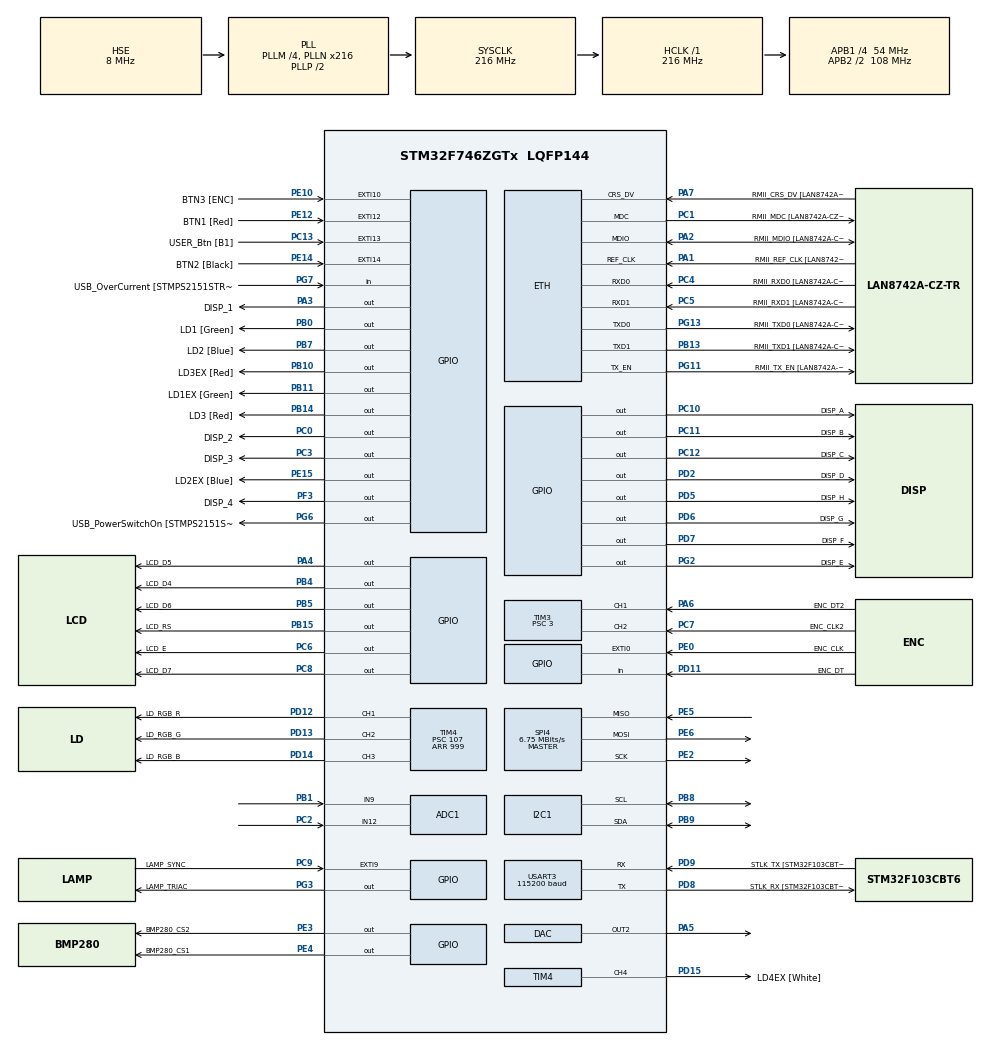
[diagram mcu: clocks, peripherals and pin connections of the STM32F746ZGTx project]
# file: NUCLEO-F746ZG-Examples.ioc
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ADC1.Channel-0\#ChannelRegularConversion=ADC_CHANNEL_9
ADC1.Channel-1\#ChannelRegularConversion=ADC_CHANNEL_12
ADC1.ContinuousConvMode=DISABLE
ADC1.DMAContinuousRequests=ENABLE
ADC1.EOCSelection=ADC_EOC_SEQ_CONV
ADC1.NbrOfConversion=2
ADC1.NbrOfConversionFlag=1
ADC1.Rank-0\#ChannelRegularConversion=1
ADC1.Rank-1\#ChannelRegularConversion=2
ADC1.SamplingTime-0\#ChannelRegularConversion=ADC_SAMPLETIME_480CYCLES
ADC1.SamplingTime-1\#ChannelRegularConversion=ADC_SAMPLETIME_480CYCLES
ADC1.master=1
ARM.CMSIS.5.6.0.CMSISJjCORE=true
ARM.CMSIS.5.6.0.CMSISJjDSP=Library
DAC.DAC_Trigger2=DAC_TRIGGER_NONE
Dma.ADC1.1.Direction=DMA_PERIPH_TO_MEMORY
Dma.ADC1.1.FIFOMode=DMA_FIFOMODE_DISABLE
Dma.ADC1.1.Instance=DMA2_Stream0
Dma.ADC1.1.MemDataAlignment=DMA_MDATAALIGN_HALFWORD
Dma.ADC1.1.MemInc=DMA_MINC_ENABLE
Dma.ADC1.1.Mode=DMA_CIRCULAR
Dma.ADC1.1.PeriphDataAlignment=DMA_PDATAALIGN_HALFWORD
Dma.ADC1.1.PeriphInc=DMA_PINC_DISABLE
Dma.ADC1.1.Priority=DMA_PRIORITY_LOW
Dma.DAC2.2.Direction=DMA_MEMORY_TO_PERIPH
Dma.DAC2.2.FIFOMode=DMA_FIFOMODE_DISABLE
Dma.DAC2.2.Instance=DMA1_Stream6
Dma.DAC2.2.MemDataAlignment=DMA_MDATAALIGN_HALFWORD
Dma.DAC2.2.MemInc=DMA_MINC_ENABLE
Dma.DAC2.2.Mode=DMA_CIRCULAR
Dma.DAC2.2.PeriphDataAlignment=DMA_PDATAALIGN_HALFWORD
Dma.DAC2.2.PeriphInc=DMA_PINC_DISABLE
Dma.DAC2.2.Priority=DMA_PRIORITY_LOW
Dma.Request0=USART3_RX
Dma.Request1=ADC1
Dma.Request2=DAC2
Dma.USART3_RX.0.Direction=DMA_PERIPH_TO_MEMORY
Dma.USART3_RX.0.FIFOMode=DMA_FIFOMODE_DISABLE
Dma.USART3_RX.0.Instance=DMA1_Stream1
Dma.USART3_RX.0.MemDataAlignment=DMA_MDATAALIGN_BYTE
Dma.USART3_RX.0.MemInc=DMA_MINC_ENABLE
Dma.USART3_RX.0.Mode=DMA_NORMAL
Dma.USART3_RX.0.PeriphDataAlignment=DMA_PDATAALIGN_BYTE
Dma.USART3_RX.0.PeriphInc=DMA_PINC_DISABLE
Dma.USART3_RX.0.Priority=DMA_PRIORITY_LOW
ETH.MediaInterface=ETH_MEDIA_INTERFACE_RMII
I2C1.Timing=0x20404768
Mcu.Family=STM32F7
Mcu.Name=STM32F746ZGTx
Mcu.Package=LQFP144
NVIC.DMA1_Stream1_IRQn=true\:1\:0\:true\:false\:true\:false\:true
NVIC.DMA1_Stream6_IRQn=true\:0\:0\:false\:false\:true\:false\:true
NVIC.DMA2_Stream0_IRQn=true\:1\:0\:true\:false\:true\:false\:true
NVIC.EXTI15_10_IRQn=true\:1\:0\:true\:false\:true\:true\:true
NVIC.EXTI9_5_IRQn=true\:0\:0\:false\:false\:true\:true\:true
NVIC.PriorityGroup=NVIC_PRIORITYGROUP_4
NVIC.TIM1_UP_TIM10_IRQn=true\:1\:0\:true\:false\:true\:true\:true
NVIC.TIM2_IRQn=true\:0\:0\:false\:false\:true\:true\:true
NVIC.TIM6_DAC_IRQn=true\:0\:0\:false\:false\:true\:true\:true
NVIC.TIM7_IRQn=true\:0\:0\:false\:false\:true\:true\:true
PA1.GPIO_Label=RMII_REF_CLK [LAN8742A-CZ-TR_REFCLK0]
PA1.Mode=RMII
PA1.Signal=ETH_REF_CLK
PA10.GPIO_Label=USB_ID
PA10.Signal=USB_OTG_FS_ID
PA11.GPIO_Label=USB_DM
PA11.Signal=USB_OTG_FS_DM
PA12.GPIO_Label=USB_DP
PA12.Signal=USB_OTG_FS_DP
PA13.GPIO_Label=TMS
PA13.Mode=Serial_Wire
PA13.Signal=SYS_JTMS-SWDIO
PA14.GPIO_Label=TCK
PA14.Mode=Serial_Wire
PA14.Signal=SYS_JTCK-SWCLK
PA2.GPIO_Label=RMII_MDIO [LAN8742A-CZ-TR_MDIO]
PA2.Mode=RMII
PA2.Signal=ETH_MDIO
PA3.GPIO_Label=DISP_1
PA3.Signal=GPIO_Output
PA4.GPIO_Label=LCD_D5
PA4.Signal=GPIO_Output
PA5.Signal=COMP_DAC2_group
PA6.GPIO_Label=ENC_DT2
PA6.Signal=S_TIM3_CH1
PA7.GPIO_Label=RMII_CRS_DV [LAN8742A-CZ-TR_CRS_DV]
PA7.Mode=RMII
PA7.Signal=ETH_CRS_DV
PA8.GPIO_Label=USB_SOF [TP1]
PA8.Signal=USB_OTG_FS_SOF
PA9.GPIO_Label=USB_VBUS
PA9.Signal=USB_OTG_FS_VBUS
PB0.GPIO_Label=LD1 [Green]
PB0.Signal=GPIO_Output
PB1.Signal=ADCx_IN9
PB10.GPIO_Label=LD3EX [Red]
PB10.Signal=GPIO_Output
PB11.GPIO_Label=LD1EX [Green]
PB11.Signal=GPIO_Output
PB13.GPIO_Label=RMII_TXD1 [LAN8742A-CZ-TR_TXD1]
PB13.Mode=RMII
PB13.Signal=ETH_TXD1
PB14.GPIO_Label=LD3 [Red]
PB14.Signal=GPIO_Output
PB15.GPIO_Label=LCD_RS
PB15.Signal=GPIO_Output
PB3.GPIO_Label=SW0
PB3.Signal=SYS_JTDO-SWO
PB4.GPIO_Label=LCD_D4
PB4.Signal=GPIO_Output
PB5.GPIO_Label=LCD_D6
PB5.Signal=GPIO_Output
PB7.GPIO_Label=LD2 [Blue]
PB7.Signal=GPIO_Output
PB8.Mode=I2C
PB8.Signal=I2C1_SCL
PB9.Mode=I2C
PB9.Signal=I2C1_SDA
PC0.GPIO_Label=DISP_2
PC0.Signal=GPIO_Output
PC1.GPIO_Label=RMII_MDC [LAN8742A-CZ-TR_MDC]
PC1.Mode=RMII
PC1.Signal=ETH_MDC
PC10.GPIO_Label=DISP_A
PC10.GPIO_ModeDefaultOutputPP=GPIO_MODE_OUTPUT_OD
PC10.GPIO_PuPd=GPIO_PULLUP
PC10.Signal=GPIO_Output
PC11.GPIO_Label=DISP_B
PC11.GPIO_ModeDefaultOutputPP=GPIO_MODE_OUTPUT_OD
PC11.GPIO_PuPd=GPIO_PULLUP
PC11.Signal=GPIO_Output
PC12.GPIO_Label=DISP_C
PC12.GPIO_ModeDefaultOutputPP=GPIO_MODE_OUTPUT_OD
PC12.GPIO_PuPd=GPIO_PULLUP
PC12.Signal=GPIO_Output
PC13.GPIO_Label=USER_Btn [B1]
PC13.Signal=GPXTI13
PC14/OSC32_IN.Mode=LSE-External-Oscillator
PC14/OSC32_IN.Signal=RCC_OSC32_IN
PC15/OSC32_OUT.Mode=LSE-External-Oscillator
PC15/OSC32_OUT.Signal=RCC_OSC32_OUT
PC2.Signal=ADCx_IN12
PC3.GPIO_Label=DISP_3
PC3.Signal=GPIO_Output
PC4.GPIO_Label=RMII_RXD0 [LAN8742A-CZ-TR_RXD0]
PC4.Mode=RMII
PC4.Signal=ETH_RXD0
PC5.GPIO_Label=RMII_RXD1 [LAN8742A-CZ-TR_RXD1]
PC5.Mode=RMII
PC5.Signal=ETH_RXD1
PC6.GPIO_Label=LCD_E
PC6.Signal=GPIO_Output
PC7.GPIO_Label=ENC_CLK2
PC7.Signal=S_TIM3_CH2
PC8.GPIO_Label=LCD_D7
PC8.Signal=GPIO_Output
PC9.GPIO_Label=LAMP_SYNC
PC9.GPIO_ModeDefaultEXTI=GPIO_MODE_IT_FALLING
PC9.Signal=GPXTI9
PD11.GPIO_Label=ENC_DT
PD11.Signal=GPIO_Input
PD12.GPIO_Label=LD_RGB_R
PD12.Signal=S_TIM4_CH1
PD13.GPIO_Label=LD_RGB_G
PD13.Signal=S_TIM4_CH2
PD14.GPIO_Label=LD_RGB_B
PD14.Signal=S_TIM4_CH3
PD15.GPIO_Label=LD4EX [White]
PD15.Signal=S_TIM4_CH4
PD2.GPIO_Label=DISP_D
PD2.GPIO_ModeDefaultOutputPP=GPIO_MODE_OUTPUT_OD
PD2.GPIO_PuPd=GPIO_PULLUP
PD2.Signal=GPIO_Output
PD5.GPIO_Label=DISP_H
PD5.GPIO_ModeDefaultOutputPP=GPIO_MODE_OUTPUT_OD
PD5.GPIO_PuPd=GPIO_PULLUP
PD5.Signal=GPIO_Output
PD6.GPIO_Label=DISP_G
PD6.GPIO_ModeDefaultOutputPP=GPIO_MODE_OUTPUT_OD
PD6.GPIO_PuPd=GPIO_PULLUP
PD6.Signal=GPIO_Output
PD7.GPIO_Label=DISP_F
PD7.GPIO_ModeDefaultOutputPP=GPIO_MODE_OUTPUT_OD
PD7.GPIO_PuPd=GPIO_PULLUP
PD7.Signal=GPIO_Output
PD8.GPIO_Label=STLK_RX [STM32F103CBT6_PA3]
PD8.Mode=Asynchronous
PD8.Signal=USART3_TX
PD9.GPIO_Label=STLK_TX [STM32F103CBT6_PA2]
PD9.Mode=Asynchronous
PD9.Signal=USART3_RX
PE0.GPIO_Label=ENC_CLK
PE0.GPIO_ModeDefaultEXTI=GPIO_MODE_IT_FALLING
PE0.Signal=GPXTI0
PE10.GPIO_Label=BTN3 [ENC]
PE10.GPIO_ModeDefaultEXTI=GPIO_MODE_IT_FALLING
PE10.Signal=GPXTI10
PE12.GPIO_Label=BTN1 [Red]
PE12.GPIO_ModeDefaultEXTI=GPIO_MODE_IT_FALLING
PE12.GPIO_PuPd=GPIO_PULLUP
PE12.Signal=GPXTI12
PE14.GPIO_Label=BTN2 [Black]
PE14.GPIO_PuPd=GPIO_PULLDOWN
PE14.Signal=GPXTI14
PE15.GPIO_Label=LD2EX [Blue]
PE15.Signal=GPIO_Output
PE2.Mode=Full_Duplex_Master
PE2.Signal=SPI4_SCK
PE3.GPIO_Label=BMP280_CS2
PE3.GPIO_Speed=GPIO_SPEED_FREQ_VERY_HIGH
PE3.PinState=GPIO_PIN_SET
PE3.Signal=GPIO_Output
PE4.GPIO_Label=BMP280_CS1
PE4.GPIO_Speed=GPIO_SPEED_FREQ_VERY_HIGH
PE4.PinState=GPIO_PIN_SET
PE4.Signal=GPIO_Output
PE5.Mode=Full_Duplex_Master
PE5.Signal=SPI4_MISO
PE6.Mode=Full_Duplex_Master
PE6.Signal=SPI4_MOSI
PF3.GPIO_Label=DISP_4
PF3.GPIO_ModeDefaultOutputPP=GPIO_MODE_OUTPUT_PP
PF3.GPIO_PuPd=GPIO_NOPULL
PF3.Signal=GPIO_Output
PG11.GPIO_Label=RMII_TX_EN [LAN8742A-CZ-TR_TXEN]
PG11.Mode=RMII
PG11.Signal=ETH_TX_EN
PG13.GPIO_Label=RMII_TXD0 [LAN8742A-CZ-TR_TXD0]
PG13.Mode=RMII
PG13.Signal=ETH_TXD0
PG2.GPIO_Label=DISP_E
PG2.GPIO_ModeDefaultOutputPP=GPIO_MODE_OUTPUT_OD
PG2.GPIO_PuPd=GPIO_PULLUP
PG2.Signal=GPIO_Output
PG3.GPIO_Label=LAMP_TRIAC
PG3.GPIO_Speed=GPIO_SPEED_FREQ_VERY_HIGH
PG3.Signal=GPIO_Output
PG6.GPIO_Label=USB_PowerSwitchOn [STMPS2151STR_EN]
PG6.Signal=GPIO_Output
PG7.GPIO_Label=USB_OverCurrent [STMPS2151STR_FAULT]
PG7.Signal=GPIO_Input
PH0/OSC_IN.GPIO_Label=MCO [STM32F103CBT6_PA8]
PH0/OSC_IN.Mode=HSE-External-Clock-Source
PH0/OSC_IN.Signal=RCC_OSC_IN
PH1/OSC_OUT.Mode=HSE-External-Clock-Source
PH1/OSC_OUT.Signal=RCC_OSC_OUT
ProjectManager.HeapSize=0x200
ProjectManager.StackSize=0x400
ProjectManager.TargetToolchain=STM32CubeIDE
RCC.48MHZClocksFreq_Value=24000000
RCC.AHBFreq_Value=216000000
RCC.APB1CLKDivider=RCC_HCLK_DIV4
RCC.APB1Freq_Value=54000000
RCC.APB1TimFreq_Value=108000000
RCC.APB2CLKDivider=RCC_HCLK_DIV2
RCC.APB2Freq_Value=108000000
RCC.APB2TimFreq_Value=216000000
RCC.CortexFreq_Value=216000000
RCC.HCLKFreq_Value=216000000
RCC.HSE_VALUE=8000000
RCC.HSI_VALUE=16000000
RCC.PLLM=4
RCC.PLLMUL=RCC_PLL_MUL9
RCC.PLLN=216
RCC.PLLQ=3
RCC.PLLSourceVirtual=RCC_PLLSOURCE_HSE
RCC.PRESCALERUSB=RCC_USBCLKSOURCE_PLL_DIV1_5
RCC.SYSCLKFreq_VALUE=216000000
RCC.SYSCLKSource=RCC_SYSCLKSOURCE_PLLCLK
RCC.SYSCLKSourceVirtual=RCC_SYSCLKSOURCE_PLLCLK
RCC.USBFreq_Value=144000000
RCC.VCOOutputFreq_Value=432000000
SH.ADCx_IN12.0=ADC1_IN12,IN12
SH.ADCx_IN9.0=ADC1_IN9,IN9
SH.COMP_DAC2_group.0=DAC_OUT2,DAC_OUT2
SH.S_TIM3_CH1.0=TIM3_CH1,Encoder_Interface
SH.S_TIM3_CH2.0=TIM3_CH2,Encoder_Interface
SH.S_TIM4_CH1.0=TIM4_CH1,PWM Generation1 CH1
SH.S_TIM4_CH2.0=TIM4_CH2,PWM Generation2 CH2
SH.S_TIM4_CH3.0=TIM4_CH3,PWM Generation3 CH3
SH.S_TIM4_CH4.0=TIM4_CH4,PWM Generation4 CH4
SPI4.BaudRatePrescaler=SPI_BAUDRATEPRESCALER_16
SPI4.CLKPhase=SPI_PHASE_2EDGE
SPI4.CLKPolarity=SPI_POLARITY_HIGH
SPI4.CalculateBaudRate=6.75 MBits/s
SPI4.DataSize=SPI_DATASIZE_8BIT
SPI4.Direction=SPI_DIRECTION_2LINES
SPI4.Mode=SPI_MODE_MASTER
SPI4.VirtualType=VM_MASTER
TIM10.Period=2999
TIM10.Prescaler=21599
TIM2.Period=10000-1
TIM2.Prescaler=108-1
TIM3.ClockDivision=TIM_CLOCKDIVISION_DIV1
TIM3.EncoderMode=TIM_ENCODERMODE_TI12
TIM3.IC1Polarity=TIM_ICPOLARITY_FALLING
TIM3.IC1Prescaler=TIM_ICPSC_DIV1
TIM3.IC2Polarity=TIM_ICPOLARITY_FALLING
TIM3.IC2Prescaler=TIM_ICPSC_DIV1
TIM3.Period=100
TIM3.Prescaler=3
TIM4.Channel-PWM\ Generation1\ CH1=TIM_CHANNEL_1
TIM4.Channel-PWM\ Generation2\ CH2=TIM_CHANNEL_2
TIM4.Channel-PWM\ Generation3\ CH3=TIM_CHANNEL_3
TIM4.Channel-PWM\ Generation4\ CH4=TIM_CHANNEL_4
TIM4.Period=999
TIM4.Prescaler=107
TIM4.Pulse-PWM\ Generation1\ CH1=0
TIM4.Pulse-PWM\ Generation2\ CH2=0
TIM4.Pulse-PWM\ Generation3\ CH3=0
TIM5.Prescaler=107
TIM6.Period=9
TIM6.Prescaler=107
TIM6.TIM_MasterOutputTrigger=TIM_TRGO_UPDATE
TIM7.Period=999
TIM7.Prescaler=216
USART3.BaudRate=115200
USART3.VirtualMode-Asynchronous=VM_ASYNC
VP_ARM.CMSIS_VS_CMSISJjCORE_5.3.0_5.6.0.Mode=CMSISJjCORE
VP_ARM.CMSIS_VS_CMSISJjDSP_1.7.0_5.6.0.Mode=CMSISJjDSP
VP_TIM10_VS_ClockSourceINT.Mode=Enable_Timer
VP_TIM2_VS_ClockSourceINT.Mode=Internal
VP_TIM4_VS_ClockSourceINT.Mode=Internal
VP_TIM5_VS_ClockSourceINT.Mode=Internal
VP_TIM6_VS_ClockSourceINT.Mode=Enable_Timer
VP_TIM7_VS_ClockSourceINT.Mode=Enable_Timer
board=NUCLEO-F746ZG

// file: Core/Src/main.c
/* USER CODE BEGIN Header */
/**
  ******************************************************************************
  * @file           : main.c
  * @brief          : Main program body
  ******************************************************************************
  * @attention
  *
  * <h2><center>&copy; Copyright (c) 2021 STMicroelectronics.
  * All rights reserved.</center></h2>
  *
  * This software component is licensed by ST under BSD 3-Clause license,
  * the "License"; You may not use this file except in compliance with the
  * License. You may obtain a copy of the License at:
  *                        opensource.org/licenses/BSD-3-Clause
  *
  ******************************************************************************
  *
  *
  *
  ******************************************************************************
  */
/* USER CODE END Header */
#include "main.h"
#include "adc.h"
#include "dac.h"
#include "dma.h"
#include "eth.h"
#include "i2c.h"
#include "spi.h"
#include "tim.h"
#include "usart.h"
#include "gpio.h"

/* USER CODE BEGIN Includes */
#include "arm_math.h" // CMSIS DSP

#include "common.h"
#include "led_config.h"
#include "led_rgb_config.h"
#include "lamp_config.h"
#include "btn_config.h"
#include "encoder_config.h"
#include "disp_config.h"
#include "lcd_config.h"
#include "bh1750_config.h"
#include "bmp2_config.h"
#include "analog_input.h"
#include "analog_output.h"
//#include "sine_wave.h"
#include "menu_config.h"

/* USER CODE END Includes */

/* USER CODE BEGIN PD */
#define LAB   13
/* USER CODE END PD */

/* USER CODE BEGIN PV */
uint16_t adc1_conv_rslt[ADC1_NUMBER_OF_CONV];
float adc1_voltages[ADC1_NUMBER_OF_CONV];

extern arm_fir_instance_f32 fir;
extern arm_biquad_casd_df1_inst_f32 iir;
extern arm_pid_instance_f32 pid;

//uint8_t END_OF_MSG = '\r';
uint8_t END_OF_MSG = '\n';
//uint8_t END_OF_MSG[] = {'\r','\n'};

uint8_t RX_DATA[SERIAL_PORT_MSG_BUF_LEN];

/* USER CODE END PV */

void SystemClock_Config(void);

/* USER CODE BEGIN 0 */

/**
  * @brief  Rx Transfer completed callback.
  * @param  huart UART handle.
  * @retval None
  */
void HAL_UART_RxCpltCallback(UART_HandleTypeDef *huart)
{
  if(huart == &huart3)
  {
    unsigned int dac_reg;
    int rx_n = sscanf((char*)RX_DATA, "%3x", &dac_reg);

    if(rx_n == 1)
      HAL_DAC_SetValue(&hdac, DAC_CHANNEL_2, DAC_ALIGN_12B_R, (uint16_t)dac_reg);

    HAL_UART_Receive_DMA(huart, RX_DATA, SERIAL_PORT_DAC_MSG_SIZE);
  }
}

/**
  * @brief  Regular conversion complete callback in non blocking mode
  * @param  hadc pointer to a ADC_HandleTypeDef structure that contains
  *         the configuration information for the specified ADC.
  * @retval None
  */
void HAL_ADC_ConvCpltCallback(ADC_HandleTypeDef* hadc)
{
  if(hadc == &hadc1)
  {
  	float ain1_tmp = ADC_REG2VOLTAGE(adc1_conv_rslt[0]);
  	arm_fir_f32(&fir, &ain1_tmp, &adc1_voltages[0], 1);                // FIR filter

  	ain1_tmp = ADC_REG2VOLTAGE(adc1_conv_rslt[1]);
  	arm_biquad_cascade_df1_f32(&iir, &ain1_tmp, &adc1_voltages[1], 1); // IIR filter
  }
}

/**
  * @brief  Period elapsed callback in non-blocking mode
  * @param  htim TIM handle
  * @retval None
  */
void HAL_TIM_PeriodElapsedCallback(TIM_HandleTypeDef *htim)
{
  /* User menu: low priority */
  if(htim == hmenu.Timer)
  {
	/* UI timer period: display refresh rate [x100us] */
	__HAL_TIM_SET_AUTORELOAD(htim, MAX(hmenu.Item->RefreshRate, hmenu.Item->Next->RefreshRate));

	/* Menu items routines: main application tasks */
	MENU_ROUTINE(&hmenu);

	/* ADC1 conversion result on 7-segment display */
	DISP_printDecUInt(&hdisp1, adc1_voltages[0]);
  }
  /* User inputs & low-level display multiplexing: high priority timer */
  if(htim == hdisp1.Timer)
  {
	/* ADC1 DMA software triggering */
	ADC1_READ(adc1_conv_rslt);

    /* Menu buttons */
    if(BTN_EdgeDetected(&hbtn1) && hmenu.Item->Next != NULL)
	  hmenu.Item = hmenu.Item->Next;
    if(BTN_EdgeDetected(&hbtn2) && hmenu.Item->Prev != NULL)
      hmenu.Item = hmenu.Item->Prev;

    /* 7-segment display routine */
	DISP_ROUTINE(&hdisp1);
  }
}

/* USER CODE END 0 */

int main(void)
{

  /* MCU Configuration--------------------------------------------------------*/

  /* Reset of all peripherals, Initializes the Flash interface and the Systick. */
  HAL_Init();

  /* Configure the system clock */
  SystemClock_Config();

  /* Initialize all configured peripherals */
  MX_TIM2_Init();
  MX_GPIO_Init();
  MX_DMA_Init();
  MX_USART3_UART_Init();
  MX_ETH_Init();
  MX_TIM3_Init();
  MX_TIM4_Init();
  MX_TIM10_Init();
  MX_TIM5_Init();
  MX_I2C1_Init();
  MX_SPI4_Init();
  MX_ADC1_Init();
  MX_DAC_Init();
  MX_TIM6_Init();
  MX_TIM7_Init();
  /* USER CODE BEGIN 2 */

  // Initialize light sensor
  BH1750_Init(&hbh1750_1);
  // Initialize pressure and temperature sensor
  BMP2_Init(&bmp2dev_1);
  // Initialize LCD1
  LCD_Init(&hlcd1);
  // Print laboratory task info on LCD1
  LCD_printf(&hlcd1, "L%02d: CMSIS DSP", LAB);
  // Initialize RGB LED
  LED_RGB_Init(&hledrgb1);
  // Set RGB LED color: disable all channels
  LED_RGB_SetColor(&hledrgb1, 0x000000);
  // Initialize rotary encoder
  ENC_Init(&henc1);

  // Start analog output
  HAL_DAC_Start(&hdac, DAC_CHANNEL_2);
  HAL_DAC_SetValue(&hdac, DAC_CHANNEL_2, DAC_ALIGN_12B_R, DAC_VOLTAGE2REG(0.0f) /* V */);
  //HAL_TIM_Base_Start(&htim6);
  //HAL_DAC_Start_DMA(&hdac, DAC_CHANNEL_2, SINE_WAVE, 100, DAC_ALIGN_12B_R);

  // CMSIS unit testing
  CMSIS_UnitTests();

  // Wait for button
  while(!BTN_EdgeDetected(&hbtn1))
  	HAL_Delay(0);

  // Turn LEDs off after testing
  LED_OFF_ALL();
  // User menu initialization
  MENU_Init(&hmenu);
  // Initialize 7-segment display
  DISP_Init(&hdisp1);

  HAL_UART_Receive_DMA(&huart3, RX_DATA, SERIAL_PORT_DAC_MSG_SIZE);

  /* USER CODE END 2 */

  /* Infinite loop */
  while (1)
  {

  }
}

void SystemClock_Config(void)
{
  RCC_OscInitTypeDef RCC_OscInitStruct = {0};
  RCC_ClkInitTypeDef RCC_ClkInitStruct = {0};
  RCC_PeriphCLKInitTypeDef PeriphClkInitStruct = {0};

  /** Configure LSE Drive Capability
  */
  HAL_PWR_EnableBkUpAccess();
  /** Configure the main internal regulator output voltage
  */
  __HAL_RCC_PWR_CLK_ENABLE();
  __HAL_PWR_VOLTAGESCALING_CONFIG(PWR_REGULATOR_VOLTAGE_SCALE1);
  /** Initializes the RCC Oscillators according to the specified parameters
  * in the RCC_OscInitTypeDef structure.
  */
  RCC_OscInitStruct.OscillatorType = RCC_OSCILLATORTYPE_HSE;
  RCC_OscInitStruct.HSEState = RCC_HSE_BYPASS;
  RCC_OscInitStruct.PLL.PLLState = RCC_PLL_ON;
  RCC_OscInitStruct.PLL.PLLSource = RCC_PLLSOURCE_HSE;
  RCC_OscInitStruct.PLL.PLLM = 4;
  RCC_OscInitStruct.PLL.PLLN = 216;
  RCC_OscInitStruct.PLL.PLLP = RCC_PLLP_DIV2;
  RCC_OscInitStruct.PLL.PLLQ = 3;
  if (HAL_RCC_OscConfig(&RCC_OscInitStruct) != HAL_OK)
  {
    Error_Handler();
  }
  /** Activate the Over-Drive mode
  */
  if (HAL_PWREx_EnableOverDrive() != HAL_OK)
  {
    Error_Handler();
  }
  /** Initializes the CPU, AHB and APB buses clocks
  */
  RCC_ClkInitStruct.ClockType = RCC_CLOCKTYPE_HCLK|RCC_CLOCKTYPE_SYSCLK
                              |RCC_CLOCKTYPE_PCLK1|RCC_CLOCKTYPE_PCLK2;
  RCC_ClkInitStruct.SYSCLKSource = RCC_SYSCLKSOURCE_PLLCLK;
  RCC_ClkInitStruct.AHBCLKDivider = RCC_SYSCLK_DIV1;
  RCC_ClkInitStruct.APB1CLKDivider = RCC_HCLK_DIV4;
  RCC_ClkInitStruct.APB2CLKDivider = RCC_HCLK_DIV2;

  if (HAL_RCC_ClockConfig(&RCC_ClkInitStruct, FLASH_LATENCY_7) != HAL_OK)
  {
    Error_Handler();
  }
  PeriphClkInitStruct.PeriphClockSelection = RCC_PERIPHCLK_USART3|RCC_PERIPHCLK_I2C1;
  PeriphClkInitStruct.Usart3ClockSelection = RCC_USART3CLKSOURCE_PCLK1;
  PeriphClkInitStruct.I2c1ClockSelection = RCC_I2C1CLKSOURCE_PCLK1;
  if (HAL_RCCEx_PeriphCLKConfig(&PeriphClkInitStruct) != HAL_OK)
  {
    Error_Handler();
  }
}

void Error_Handler(void)
{
  __disable_irq();
  while (1)
  {
  }
}

/************************ (C) COPYRIGHT STMicroelectronics *****END OF FILE****/
